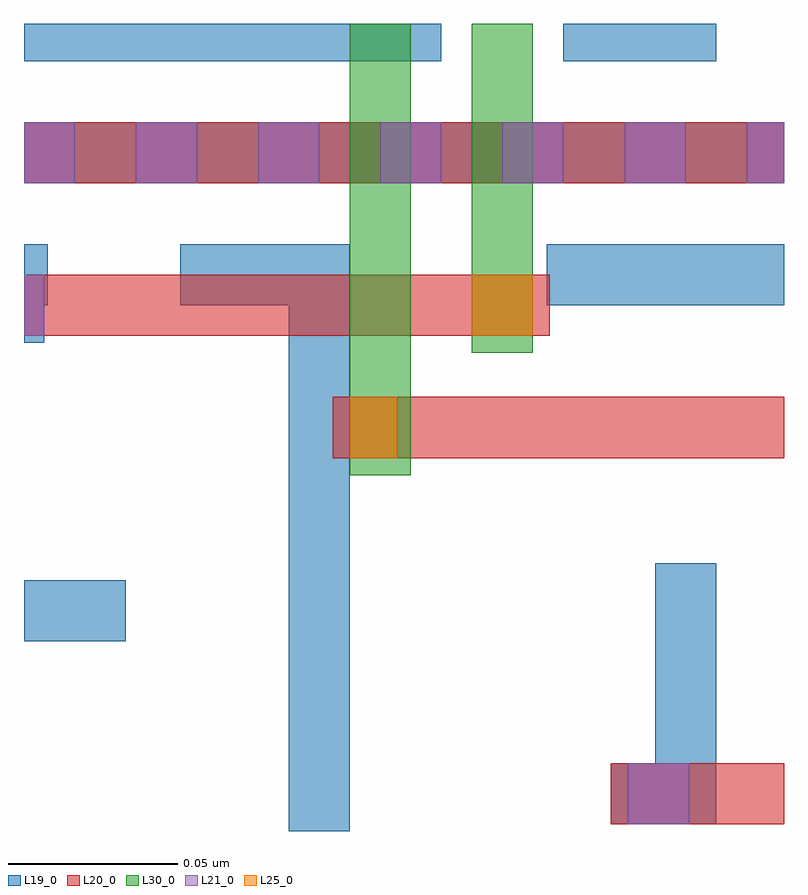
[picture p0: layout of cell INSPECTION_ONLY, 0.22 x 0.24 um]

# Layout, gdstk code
import gdstk
lib = gdstk.Library(unit=1e-6, precision=2.5e-10)
def R(c, l, rs):  # rectangles x0, y0, x1, y1
    for r in rs: c.add(gdstk.rectangle(r[:2], r[2:], *l))
def A(c, l, x, y, w, h, nx, ny, dx, dy):  # array of equal rectangles
    R(c, l, [(x+i*dx, y+j*dy, x+i*dx+w, y+j*dy+h) for i in range(nx) for j in range(ny)])
def P(c, l, *ps):  # polygons
    for p in ps: c.add(gdstk.Polygon(p, *l))
L19_0 = (19, 0)
L20_0 = (20, 0)
L21_0 = (21, 0)
L25_0 = (25, 0)
L30_0 = (30, 0)

inspection_only = lib.new_cell('INSPECTION_ONLY')
R(inspection_only, L19_0, [(2.381,1.962,2.412,1.98), (2.394,1.962,2.412,2.039), (2.208,2.016,2.238,2.034), (2.208,2.104,2.214,2.126), (2.208,2.115,2.215,2.133), (2.362,2.115,2.432,2.133), (2.208,2.151,2.432,2.169), (2.208,2.151,2.432,2.169), (2.208,2.151,2.43,2.169), (2.208,2.151,2.322,2.169), (2.322,2.151,2.432,2.169), (2.43,2.151,2.432,2.169), (2.208,2.187,2.331,2.198), (2.367,2.187,2.412,2.198)])
P(inspection_only, L19_0, [(2.286,1.96),(2.286,2.115),(2.254,2.115),(2.254,2.133),(2.304,2.133),(2.304,1.96)])
R(inspection_only, L20_0, [(2.381,1.962,2.432,1.98), (2.299,2.07,2.432,2.088), (2.208,2.106,2.363,2.124), (2.208,2.151,2.432,2.169)])
A(inspection_only, L21_0, 2.241, 2.151, 0.018, 0.018, 5, 1, 0.036, 0)
R(inspection_only, L21_0, [(2.386,1.962,2.404,1.98), (2.208,2.106,2.214,2.124), (2.208,2.151,2.223,2.169), (2.421,2.151,2.432,2.169)])
R(inspection_only, L25_0, [(2.304,2.07,2.318,2.088), (2.34,2.106,2.358,2.124)])
R(inspection_only, L30_0, [(2.304,2.065,2.322,2.198), (2.34,2.101,2.358,2.198)])

lib.write_gds('INSPECTION_ONLY.gds')
